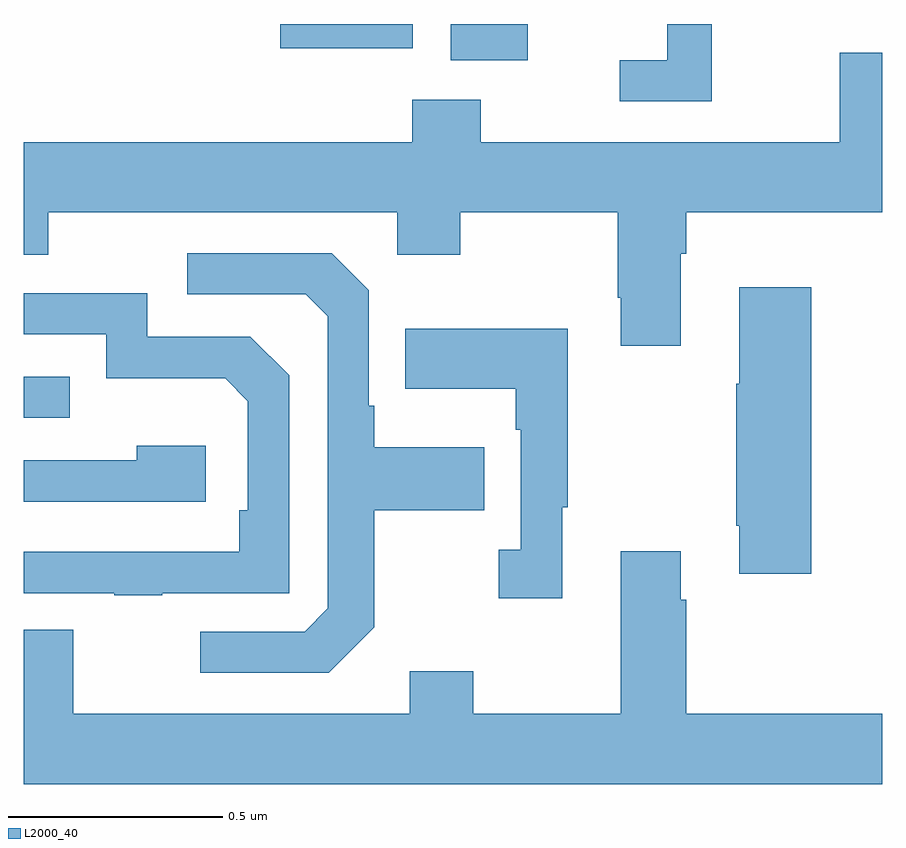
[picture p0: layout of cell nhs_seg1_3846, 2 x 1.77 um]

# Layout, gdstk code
import gdstk
lib = gdstk.Library(unit=1e-6, precision=1e-09)
def R(c, l, rs):  # rectangles x0, y0, x1, y1
    for r in rs: c.add(gdstk.rectangle(r[:2], r[2:], *l))
def P(c, l, *ps):  # polygons
    for p in ps: c.add(gdstk.Polygon(p, *l))
L2000_40 = (2000, 40)

nhs_seg1_3846 = lib.new_cell('nhs_seg1_3846')
R(nhs_seg1_3846, L2000_40, [(159,523.281,159.107,523.377), (159.995,524.114,160.174,524.199), (159.597,524.143,159.906,524.199)])
P(nhs_seg1_3846, L2000_40, [(160.603,524.199),(160.499,524.199),(160.499,524.115),(160.389,524.115),(160.389,524.019),(160.603,524.019)],
  [(160.531,523.664),(160.544,523.664),(160.544,523.76),(161,523.76),(161,524.132),(160.901,524.132),(160.901,523.924),(160.065,523.924),(160.065,524.023),(159.905,524.023),(159.905,523.924),(159,523.924),(159,523.661),(159.057,523.661),(159.057,523.76),(159.87,523.76),(159.87,523.661),(160.017,523.661),(160.017,523.76),(160.384,523.76),(160.384,523.561),(160.391,523.561),(160.391,523.449),(160.531,523.449)],
  [(159.817,522.793),(159.817,523.066),(160.073,523.066),(160.073,523.213),(159.817,523.213),(159.817,523.309),(159.804,523.309),(159.804,523.578),(159.717,523.665),(159.381,523.665),(159.381,523.569),(159.657,523.569),(159.708,523.518),(159.708,522.837),(159.654,522.783),(159.411,522.783),(159.411,522.687),(159.711,522.687)],
  [(160.835,523.585),(160.667,523.585),(160.667,523.361),(160.66,523.361),(160.66,523.03),(160.667,523.03),(160.667,522.918),(160.835,522.918)],
  [(159.323,522.873),(159.618,522.873),(159.618,523.38),(159.528,523.47),(159.288,523.47),(159.288,523.572),(159,523.572),(159,523.476),(159.192,523.476),(159.192,523.373),(159.469,523.373),(159.522,523.32),(159.522,523.066),(159.502,523.066),(159.502,522.969),(159,522.969),(159,522.873),(159.211,522.873),(159.211,522.868),(159.323,522.868)],
  [(160.255,523.073),(160.267,523.073),(160.267,523.489),(159.889,523.489),(159.889,523.349),(160.146,523.349),(160.146,523.253),(160.158,523.253),(160.158,522.974),(160.107,522.974),(160.107,522.861),(160.255,522.861)],
  [(159.424,523.216),(159.263,523.216),(159.263,523.182),(159,523.182),(159,523.086),(159.424,523.086)],
  [(161,522.592),(160.544,522.592),(160.544,522.857),(160.531,522.857),(160.531,522.97),(160.391,522.97),(160.391,522.592),(160.047,522.592),(160.047,522.691),(159.899,522.691),(159.899,522.592),(159.115,522.592),(159.115,522.787),(159,522.787),(159,522.428),(161,522.428)])

lib.write_gds('nhs_seg1_3846.gds')
